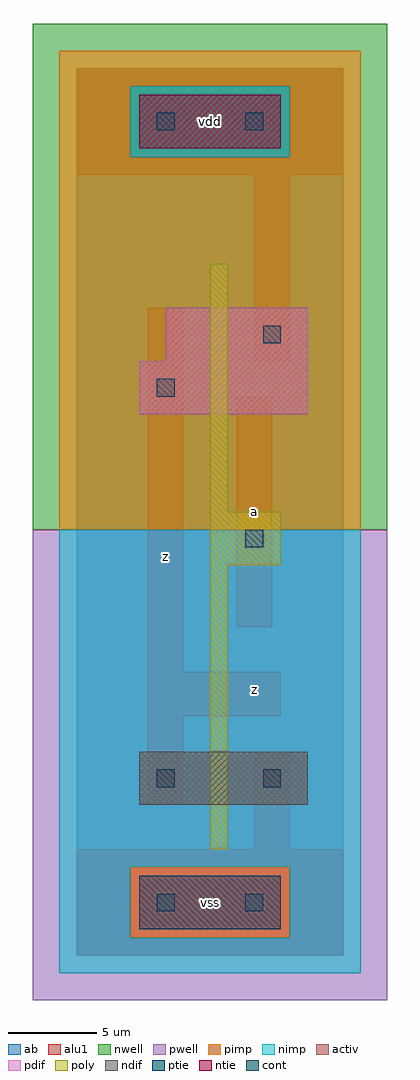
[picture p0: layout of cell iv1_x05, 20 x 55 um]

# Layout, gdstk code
import gdstk
lib = gdstk.Library(unit=1e-6, precision=1e-09)
def R(c, l, rs):  # rectangles x0, y0, x1, y1
    for r in rs: c.add(gdstk.rectangle(r[:2], r[2:], *l))
ndif = (3, 0)
pdif = (4, 0)
ntie = (5, 0)
ptie = (6, 0)
cont = (25, 0)
pwell = (41, 0)
nwell = (42, 0)
activ = (43, 0)
pimp = (44, 0)
nimp = (45, 0)
poly = (46, 0)
alu1 = (49, 0)
ab = (63, 0)

iv1_x05 = lib.new_cell('iv1_x05')
R(iv1_x05, ndif, [(3.5,8.5,13,11.5)])
R(iv1_x05, pdif, [(3.5,30.5,13,33.5), (5,33.5,13,36.5)])
R(iv1_x05, ntie, [(3.5,45.5,11.5,48.5)])
R(iv1_x05, ptie, [(3.5,1.5,11.5,4.5)])
R(iv1_x05, cont, [(4.5,2.5,5.5,3.5), (9.5,2.5,10.5,3.5), (4.5,9.5,5.5,10.5), (10.5,9.5,11.5,10.5), (9.5,23,10.5,24), (4.5,31.5,5.5,32.5), (10.5,34.5,11.5,35.5), (4.5,46.5,5.5,47.5), (9.5,46.5,10.5,47.5)])
R(iv1_x05, pwell, [(-2.5,-2.5,17.5,24)])
R(iv1_x05, nwell, [(-2.5,24,17.5,52.5)])
R(iv1_x05, activ, [(3.5,1.5,11.5,4.5), (3.5,8.5,13,11.5), (3.5,30.5,13,33.5), (5,33.5,13,36.5), (3.5,45.5,11.5,48.5)])
R(iv1_x05, pimp, [(3,1,12,5), (-1,24,16,45), (-1,45,3,49), (12,45,16,49), (-1,49,16,51)])
R(iv1_x05, nimp, [(-1,-1,16,1), (-1,1,3,5), (12,1,16,5), (-1,5,16,24), (3,45,12,49)])
R(iv1_x05, poly, [(7.5,6,8.5,22), (7.5,22,11.5,25), (7.5,25,8.5,39)])
R(iv1_x05, alu1, [(0,0,15,6), (0,0,15,6), (10,6,12,11.5), (10,6,12,11.5), (4,8.5,6,13.5), (4,8.5,6,13.5), (4,13.5,11.5,16), (4,13.5,11.5,16), (4,16,6,36.5), (4,16,6,36.5), (9,18.5,11,31.5), (9,18.5,11,31.5), (10,33.5,12,44), (10,33.5,12,44), (0,44,15,50), (0,44,15,50)])
R(iv1_x05, ab, [(0,0,15,50)])
iv1_x05.add(gdstk.Label('vss', (7.5,3), layer=49, texttype=0))
iv1_x05.add(gdstk.Label('z', (5,22.5), layer=49, texttype=0))
iv1_x05.add(gdstk.Label('vdd', (7.5,47), layer=49, texttype=0))
iv1_x05.add(gdstk.Label('z', (10,15), layer=49, texttype=0))
iv1_x05.add(gdstk.Label('a', (10,25), layer=49, texttype=0))

lib.write_gds('iv1_x05.gds')
